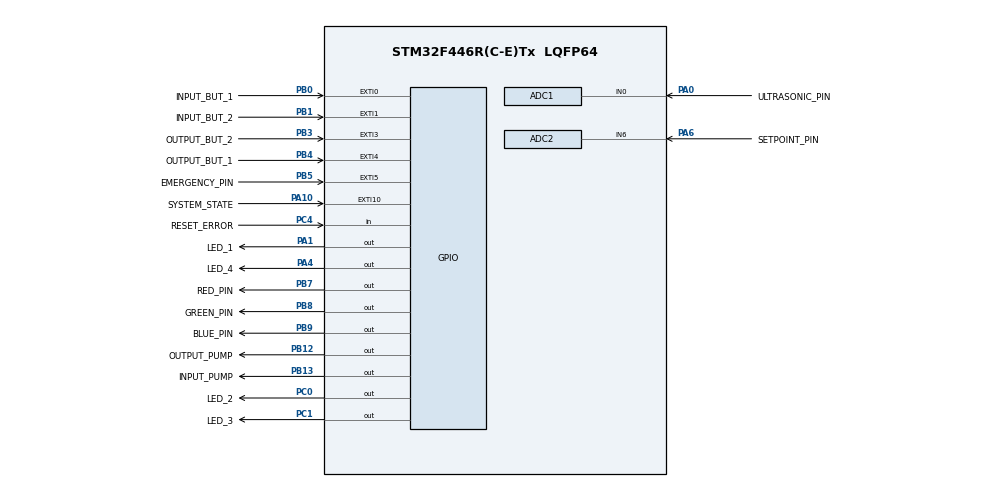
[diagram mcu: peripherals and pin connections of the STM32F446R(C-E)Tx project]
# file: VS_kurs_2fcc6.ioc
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ADC1.Channel-0\#ChannelRegularConversion=ADC_CHANNEL_0
ADC1.NbrOfConversionFlag=1
ADC1.Rank-0\#ChannelRegularConversion=1
ADC1.SamplingTime-0\#ChannelRegularConversion=ADC_SAMPLETIME_3CYCLES
ADC1.master=1
ADC2.Channel-1\#ChannelRegularConversion=ADC_CHANNEL_6
ADC2.NbrOfConversionFlag=1
ADC2.Rank-1\#ChannelRegularConversion=1
ADC2.SamplingTime-1\#ChannelRegularConversion=ADC_SAMPLETIME_3CYCLES
Mcu.Family=STM32F4
Mcu.Name=STM32F446R(C-E)Tx
Mcu.Package=LQFP64
NVIC.ADC_IRQn=true\:0\:0\:false\:false\:true\:true\:true\:true
NVIC.EXTI0_IRQn=true\:0\:0\:false\:false\:true\:true\:true\:true
NVIC.EXTI15_10_IRQn=true\:0\:0\:false\:false\:true\:true\:true\:true
NVIC.EXTI1_IRQn=true\:0\:0\:false\:false\:true\:true\:true\:true
NVIC.EXTI3_IRQn=true\:0\:0\:false\:false\:true\:true\:true\:true
NVIC.EXTI9_5_IRQn=true\:0\:0\:false\:false\:true\:true\:true\:true
NVIC.PriorityGroup=NVIC_PRIORITYGROUP_4
NVIC.TIM1_UP_TIM10_IRQn=true\:0\:0\:false\:false\:true\:true\:true\:true
NVIC.TIM3_IRQn=true\:0\:0\:false\:false\:true\:true\:true\:true
NVIC.TIM4_IRQn=true\:0\:0\:false\:false\:true\:true\:true\:true
PA0-WKUP.GPIO_Label=ULTRASONIC_PIN
PA0-WKUP.Signal=ADCx_IN0
PA1.GPIO_Label=LED_1
PA1.Signal=GPIO_Output
PA10.GPIO_Label=SYSTEM_STATE
PA10.Signal=GPXTI10
PA13.Mode=Serial_Wire
PA13.Signal=SYS_JTMS-SWDIO
PA14.Mode=Serial_Wire
PA14.Signal=SYS_JTCK-SWCLK
PA4.GPIO_Label=LED_4
PA4.Signal=GPIO_Output
PA6.GPIO_Label=SETPOINT_PIN
PA6.Signal=ADCx_IN6
PB0.GPIO_Label=INPUT_BUT_1
PB0.GPIO_PuPd=GPIO_PULLUP
PB0.Signal=GPXTI0
PB1.GPIO_Label=INPUT_BUT_2
PB1.GPIO_PuPd=GPIO_PULLDOWN
PB1.Signal=GPXTI1
PB12.GPIO_Label=OUTPUT_PUMP
PB12.Signal=GPIO_Output
PB13.GPIO_Label=INPUT_PUMP
PB13.Signal=GPIO_Output
PB3.GPIO_Label=OUTPUT_BUT_2
PB3.GPIO_PuPd=GPIO_PULLDOWN
PB3.Signal=GPXTI3
PB4.GPIO_Label=OUTPUT_BUT_1
PB4.Signal=GPXTI4
PB5.GPIO_Label=EMERGENCY_PIN
PB5.GPIO_PuPd=GPIO_PULLDOWN
PB5.Signal=GPXTI5
PB7.GPIO_Label=RED_PIN
PB7.Signal=GPIO_Output
PB8.GPIO_Label=GREEN_PIN
PB8.Signal=GPIO_Output
PB9.GPIO_Label=BLUE_PIN
PB9.Signal=GPIO_Output
PC0.GPIO_Label=LED_2
PC0.Signal=GPIO_Output
PC1.GPIO_Label=LED_3
PC1.Signal=GPIO_Output
PC4.GPIO_Label=RESET_ERROR
PC4.GPIO_PuPd=GPIO_PULLDOWN
PC4.Signal=GPIO_Input
PH0-OSC_IN.Mode=HSE-External-Oscillator
PH0-OSC_IN.Signal=RCC_OSC_IN
PH1-OSC_OUT.Mode=HSE-External-Oscillator
PH1-OSC_OUT.Signal=RCC_OSC_OUT
ProjectManager.HeapSize=0x200
ProjectManager.StackSize=0x400
ProjectManager.TargetToolchain=STM32CubeIDE
RCC.CortexFreq_Value=16000000
RCC.USBFreq_Value=96000000
RCC.VCOOutputFreq_Value=192000000
SH.ADCx_IN0.0=ADC1_IN0,IN0
SH.ADCx_IN6.0=ADC2_IN6,IN6
TIM1.Channel-PWM\ Generation1\ No\ Output=TIM_CHANNEL_1
TIM1.Period=2000-1
TIM1.Prescaler=8000-1
TIM3.Channel-PWM\ Generation1\ No\ Output=TIM_CHANNEL_1
TIM3.Period=2000-1
TIM3.Prescaler=1600-1
TIM4.Channel-PWM\ Generation1\ No\ Output=TIM_CHANNEL_1
TIM4.Period=1000-1
TIM4.Prescaler=16000-1
VP_TIM1_VS_no_output1.Mode=PWM Generation1 No Output
VP_TIM3_VS_no_output1.Mode=PWM Generation1 No Output
VP_TIM4_VS_no_output1.Mode=PWM Generation1 No Output
board=custom

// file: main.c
/* USER CODE BEGIN Header */
/**
 ******************************************************************************
 * @file           : main.c
 * @brief          : Main program body
 ******************************************************************************
 * @attention
 *
 * Copyright (c) 2023 STMicroelectronics.
 * All rights reserved.
 *
 * This software is licensed under terms that can be found in the LICENSE file
 * in the root directory of this software component.
 * If no LICENSE file comes with this software, it is provided AS-IS.
 *
 ******************************************************************************
 */
/* USER CODE END Header */
#include "main.h"

ADC_HandleTypeDef hadc1;
ADC_HandleTypeDef hadc2;

TIM_HandleTypeDef htim1;
TIM_HandleTypeDef htim3;
TIM_HandleTypeDef htim4;

/* USER CODE BEGIN PV */
uint16_t setpoint = 0;
uint16_t ultrasonic_level = 0;

uint16_t system_state = 0;

uint16_t input_pump = 0;
uint16_t output_pump = 0;

uint16_t output_but_1 = 0;
uint16_t output_but_2 = 0;
uint16_t input_but_1 = 1;
uint16_t input_but_2 = 0;

uint16_t led_cascade = 0;

uint16_t rgb_red = 0;
uint16_t rgb_green = 0;
uint16_t rgb_blue = 0;

uint16_t emergency_level = 0;

uint16_t error = 0;

uint16_t current_level = 0;
extern uint16_t ultrasonic_level_reg;
extern uint16_t setpoint_reg;
/* USER CODE END PV */

void SystemClock_Config(void);
static void MX_GPIO_Init(void);
static void MX_ADC1_Init(void);
static void MX_ADC2_Init(void);
static void MX_TIM3_Init(void);
static void MX_TIM4_Init(void);
static void MX_TIM1_Init(void);

/* USER CODE BEGIN 0 */
uint16_t system_first_safety_test()
{
	// Проверка датчиков
	if (emergency_level == 1) { error = 1; return 0; }
	if (ultrasonic_level > 210) { error = 2; return 0; }

	HAL_Delay(3000);

	// Проверка насосов
	// Проверка наполняющего насоса
	current_level = ultrasonic_level_reg;
	HAL_GPIO_WritePin(INPUT_PUMP_GPIO_Port, INPUT_PUMP_Pin, GPIO_PIN_SET);
	input_pump = 1;
	HAL_Delay(5000); // 35000
	for (int16_t i = 0; i < 1000; i++) {i = i + 1;}
	HAL_GPIO_WritePin(INPUT_PUMP_GPIO_Port, INPUT_PUMP_Pin, GPIO_PIN_RESET);
	input_pump = 0;
	if (ultrasonic_level_reg / current_level) { error = 4; return 0; }

	// Проверка сливающего насоса
	current_level = ultrasonic_level_reg;
	HAL_GPIO_WritePin(OUTPUT_PUMP_GPIO_Port, OUTPUT_PUMP_Pin, GPIO_PIN_SET);
	output_pump = 1;
	HAL_Delay(5000); // 35000
	for (int16_t i = 0; i < 1000; i++) {i = i + 1;}
	HAL_GPIO_WritePin(OUTPUT_PUMP_GPIO_Port, OUTPUT_PUMP_Pin, GPIO_PIN_RESET);
	output_pump = 0;
	if (current_level / ultrasonic_level_reg) { error = 5; return 0; }
	return 0;
}
/* USER CODE END 0 */

int main(void)
{

  /* MCU Configuration--------------------------------------------------------*/

  /* Reset of all peripherals, Initializes the Flash interface and the Systick. */
  HAL_Init();

  /* Configure the system clock */
  SystemClock_Config();

  /* Initialize all configured peripherals */
  MX_GPIO_Init();
  MX_ADC1_Init();
  MX_ADC2_Init();
  MX_TIM3_Init();
  MX_TIM4_Init();
  MX_TIM1_Init();
  /* USER CODE BEGIN 2 */

	HAL_TIM_Base_Start_IT(&htim4);
	// тест системы
	system_first_safety_test();
  /* USER CODE END 2 */

  /* Infinite loop */
  /* USER CODE BEGIN WHILE */
	while (1)
	{if (error == 1) { // Критический уровень (крас)
		rgb_red = 1;
		rgb_green = 0;
		rgb_blue = 0;
	}
	if (error == 2) { // неисправность уз. датчика уровня (жёл)
		rgb_red = 1;
		rgb_green = 1;
		rgb_blue = 0;
	}
	if (error == 3) { // неисправность уз. датчика уровня (жёл)
		rgb_red = 1;
		rgb_green = 1;
		rgb_blue = 0;
	}
	if (error == 4) { // неисправность наполняющего насоса или уз датчика уровня (фиол)
		rgb_red = 1;
		rgb_green = 0;
		rgb_blue = 1;
	}
	if (error == 5) { // неисправность сливающего насоса или уз датчика уровня (син)
		rgb_red = 0;
		rgb_green = 0;
		rgb_blue = 1;
	}

	if (error != 0) { // Выключить всё если есть ошибка
		HAL_TIM_Base_Stop_IT(&htim3);

		HAL_GPIO_WritePin(INPUT_PUMP_GPIO_Port, INPUT_PUMP_Pin, RESET);
		input_pump = 0;
		HAL_GPIO_WritePin(OUTPUT_PUMP_GPIO_Port, OUTPUT_PUMP_Pin, RESET);
		output_pump = 0;

		if (HAL_GPIO_ReadPin(RESET_ERROR_GPIO_Port, RESET_ERROR_Pin)){ error = 0; }

	}
	else { // ошибок нет
		ultrasonic_level = 200 - (int32_t)(ultrasonic_level_reg * 200) / 4095;
		if (system_state) { // выбор уставки
			HAL_TIM_Base_Stop_IT(&htim3);
			rgb_red = 1;
			rgb_green = 1;
			rgb_blue = 1;

			if (setpoint >= 198) { led_cascade = 4; }
			else if (setpoint >= 150) { led_cascade = 3; }
			else if (setpoint >= 100) { led_cascade = 2; }
			else if (setpoint >= 50) { led_cascade = 1; }
			else if (setpoint >= 0) { led_cascade = 0; }
			setpoint = (int32_t)(setpoint_reg * 200) / 4095;
		}
		else { // нормальная работа

			rgb_red = 0;
			rgb_green = 1;
			rgb_blue = 0;

			HAL_TIM_Base_Start_IT(&htim3);

			if (ultrasonic_level >= 198) { led_cascade = 4; }
			else if (ultrasonic_level >= 150) { led_cascade = 3; }
			else if (ultrasonic_level >= 100) { led_cascade = 2; }
			else if (ultrasonic_level >= 50) { led_cascade = 1; }
			else if (ultrasonic_level >= 0) { led_cascade = 0; }

		}
	}

	if (led_cascade == 1) {
		HAL_GPIO_WritePin(LED_1_GPIO_Port, LED_1_Pin, SET);
		HAL_GPIO_WritePin(LED_2_GPIO_Port, LED_2_Pin, RESET);
		HAL_GPIO_WritePin(LED_3_GPIO_Port, LED_3_Pin, RESET);
		HAL_GPIO_WritePin(LED_4_GPIO_Port, LED_4_Pin, RESET);
	}
	else if (led_cascade == 2) {
		HAL_GPIO_WritePin(LED_1_GPIO_Port, LED_1_Pin, SET);
		HAL_GPIO_WritePin(LED_2_GPIO_Port, LED_2_Pin, SET);
		HAL_GPIO_WritePin(LED_3_GPIO_Port, LED_3_Pin, RESET);
		HAL_GPIO_WritePin(LED_4_GPIO_Port, LED_4_Pin, RESET);
	}
	else if (led_cascade == 3) {
		HAL_GPIO_WritePin(LED_1_GPIO_Port, LED_1_Pin, SET);
		HAL_GPIO_WritePin(LED_2_GPIO_Port, LED_2_Pin, SET);
		HAL_GPIO_WritePin(LED_3_GPIO_Port, LED_3_Pin, SET);
		HAL_GPIO_WritePin(LED_4_GPIO_Port, LED_4_Pin, RESET);
	}
	else if (led_cascade == 4) {
		HAL_GPIO_WritePin(LED_1_GPIO_Port, LED_1_Pin, SET);
		HAL_GPIO_WritePin(LED_2_GPIO_Port, LED_2_Pin, SET);
		HAL_GPIO_WritePin(LED_3_GPIO_Port, LED_3_Pin, SET);
		HAL_GPIO_WritePin(LED_4_GPIO_Port, LED_4_Pin, SET);

	}
	else if (led_cascade == 0) {
		HAL_GPIO_WritePin(LED_1_GPIO_Port, LED_1_Pin, RESET);
		HAL_GPIO_WritePin(LED_2_GPIO_Port, LED_2_Pin, RESET);
		HAL_GPIO_WritePin(LED_3_GPIO_Port, LED_3_Pin, RESET);
		HAL_GPIO_WritePin(LED_4_GPIO_Port, LED_4_Pin, RESET);

	}

	rgb_red ? HAL_GPIO_WritePin(RED_PIN_GPIO_Port, RED_PIN_Pin, SET) : HAL_GPIO_WritePin(RED_PIN_GPIO_Port, RED_PIN_Pin, RESET);
	rgb_green ? HAL_GPIO_WritePin(GREEN_PIN_GPIO_Port, GREEN_PIN_Pin, SET) : HAL_GPIO_WritePin(GREEN_PIN_GPIO_Port, GREEN_PIN_Pin, RESET);
	rgb_blue ? HAL_GPIO_WritePin(BLUE_PIN_GPIO_Port, BLUE_PIN_Pin, SET) : HAL_GPIO_WritePin(BLUE_PIN_GPIO_Port, BLUE_PIN_Pin, RESET);
    /* USER CODE END WHILE */

	}
}

void SystemClock_Config(void)
{
  RCC_OscInitTypeDef RCC_OscInitStruct = {0};
  RCC_ClkInitTypeDef RCC_ClkInitStruct = {0};

  /** Configure the main internal regulator output voltage
  */
  __HAL_RCC_PWR_CLK_ENABLE();
  __HAL_PWR_VOLTAGESCALING_CONFIG(PWR_REGULATOR_VOLTAGE_SCALE3);

  /** Initializes the RCC Oscillators according to the specified parameters
  * in the RCC_OscInitTypeDef structure.
  */
  RCC_OscInitStruct.OscillatorType = RCC_OSCILLATORTYPE_HSI;
  RCC_OscInitStruct.HSIState = RCC_HSI_ON;
  RCC_OscInitStruct.HSICalibrationValue = RCC_HSICALIBRATION_DEFAULT;
  RCC_OscInitStruct.PLL.PLLState = RCC_PLL_NONE;
  if (HAL_RCC_OscConfig(&RCC_OscInitStruct) != HAL_OK)
  {
    Error_Handler();
  }

  /** Initializes the CPU, AHB and APB buses clocks
  */
  RCC_ClkInitStruct.ClockType = RCC_CLOCKTYPE_HCLK|RCC_CLOCKTYPE_SYSCLK
                              |RCC_CLOCKTYPE_PCLK1|RCC_CLOCKTYPE_PCLK2;
  RCC_ClkInitStruct.SYSCLKSource = RCC_SYSCLKSOURCE_HSI;
  RCC_ClkInitStruct.AHBCLKDivider = RCC_SYSCLK_DIV1;
  RCC_ClkInitStruct.APB1CLKDivider = RCC_HCLK_DIV1;
  RCC_ClkInitStruct.APB2CLKDivider = RCC_HCLK_DIV1;

  if (HAL_RCC_ClockConfig(&RCC_ClkInitStruct, FLASH_LATENCY_0) != HAL_OK)
  {
    Error_Handler();
  }
}

static void MX_ADC1_Init(void)
{

  ADC_ChannelConfTypeDef sConfig = {0};

  /** Configure the global features of the ADC (Clock, Resolution, Data Alignment and number of conversion)
  */
  hadc1.Instance = ADC1;
  hadc1.Init.ClockPrescaler = ADC_CLOCK_SYNC_PCLK_DIV2;
  hadc1.Init.Resolution = ADC_RESOLUTION_12B;
  hadc1.Init.ScanConvMode = DISABLE;
  hadc1.Init.ContinuousConvMode = DISABLE;
  hadc1.Init.DiscontinuousConvMode = DISABLE;
  hadc1.Init.ExternalTrigConvEdge = ADC_EXTERNALTRIGCONVEDGE_NONE;
  hadc1.Init.ExternalTrigConv = ADC_SOFTWARE_START;
  hadc1.Init.DataAlign = ADC_DATAALIGN_RIGHT;
  hadc1.Init.NbrOfConversion = 1;
  hadc1.Init.DMAContinuousRequests = DISABLE;
  hadc1.Init.EOCSelection = ADC_EOC_SINGLE_CONV;
  if (HAL_ADC_Init(&hadc1) != HAL_OK)
  {
    Error_Handler();
  }

  /** Configure for the selected ADC regular channel its corresponding rank in the sequencer and its sample time.
  */
  sConfig.Channel = ADC_CHANNEL_0;
  sConfig.Rank = 1;
  sConfig.SamplingTime = ADC_SAMPLETIME_3CYCLES;
  if (HAL_ADC_ConfigChannel(&hadc1, &sConfig) != HAL_OK)
  {
    Error_Handler();
  }

}

static void MX_ADC2_Init(void)
{

  ADC_ChannelConfTypeDef sConfig = {0};

  /** Configure the global features of the ADC (Clock, Resolution, Data Alignment and number of conversion)
  */
  hadc2.Instance = ADC2;
  hadc2.Init.ClockPrescaler = ADC_CLOCK_SYNC_PCLK_DIV2;
  hadc2.Init.Resolution = ADC_RESOLUTION_12B;
  hadc2.Init.ScanConvMode = DISABLE;
  hadc2.Init.ContinuousConvMode = DISABLE;
  hadc2.Init.DiscontinuousConvMode = DISABLE;
  hadc2.Init.ExternalTrigConvEdge = ADC_EXTERNALTRIGCONVEDGE_NONE;
  hadc2.Init.ExternalTrigConv = ADC_SOFTWARE_START;
  hadc2.Init.DataAlign = ADC_DATAALIGN_RIGHT;
  hadc2.Init.NbrOfConversion = 1;
  hadc2.Init.DMAContinuousRequests = DISABLE;
  hadc2.Init.EOCSelection = ADC_EOC_SINGLE_CONV;
  if (HAL_ADC_Init(&hadc2) != HAL_OK)
  {
    Error_Handler();
  }

  /** Configure for the selected ADC regular channel its corresponding rank in the sequencer and its sample time.
  */
  sConfig.Channel = ADC_CHANNEL_6;
  sConfig.Rank = 1;
  sConfig.SamplingTime = ADC_SAMPLETIME_3CYCLES;
  if (HAL_ADC_ConfigChannel(&hadc2, &sConfig) != HAL_OK)
  {
    Error_Handler();
  }

}

static void MX_TIM1_Init(void)
{

  TIM_MasterConfigTypeDef sMasterConfig = {0};
  TIM_OC_InitTypeDef sConfigOC = {0};
  TIM_BreakDeadTimeConfigTypeDef sBreakDeadTimeConfig = {0};

  htim1.Instance = TIM1;
  htim1.Init.Prescaler = 8000-1;
  htim1.Init.CounterMode = TIM_COUNTERMODE_UP;
  htim1.Init.Period = 2000-1;
  htim1.Init.ClockDivision = TIM_CLOCKDIVISION_DIV1;
  htim1.Init.RepetitionCounter = 0;
  htim1.Init.AutoReloadPreload = TIM_AUTORELOAD_PRELOAD_DISABLE;
  if (HAL_TIM_PWM_Init(&htim1) != HAL_OK)
  {
    Error_Handler();
  }
  sMasterConfig.MasterOutputTrigger = TIM_TRGO_RESET;
  sMasterConfig.MasterSlaveMode = TIM_MASTERSLAVEMODE_DISABLE;
  if (HAL_TIMEx_MasterConfigSynchronization(&htim1, &sMasterConfig) != HAL_OK)
  {
    Error_Handler();
  }
  sConfigOC.OCMode = TIM_OCMODE_PWM1;
  sConfigOC.Pulse = 0;
  sConfigOC.OCPolarity = TIM_OCPOLARITY_HIGH;
  sConfigOC.OCNPolarity = TIM_OCNPOLARITY_HIGH;
  sConfigOC.OCFastMode = TIM_OCFAST_DISABLE;
  sConfigOC.OCIdleState = TIM_OCIDLESTATE_RESET;
  sConfigOC.OCNIdleState = TIM_OCNIDLESTATE_RESET;
  if (HAL_TIM_PWM_ConfigChannel(&htim1, &sConfigOC, TIM_CHANNEL_1) != HAL_OK)
  {
    Error_Handler();
  }
  sBreakDeadTimeConfig.OffStateRunMode = TIM_OSSR_DISABLE;
  sBreakDeadTimeConfig.OffStateIDLEMode = TIM_OSSI_DISABLE;
  sBreakDeadTimeConfig.LockLevel = TIM_LOCKLEVEL_OFF;
  sBreakDeadTimeConfig.DeadTime = 0;
  sBreakDeadTimeConfig.BreakState = TIM_BREAK_DISABLE;
  sBreakDeadTimeConfig.BreakPolarity = TIM_BREAKPOLARITY_HIGH;
  sBreakDeadTimeConfig.AutomaticOutput = TIM_AUTOMATICOUTPUT_DISABLE;
  if (HAL_TIMEx_ConfigBreakDeadTime(&htim1, &sBreakDeadTimeConfig) != HAL_OK)
  {
    Error_Handler();
  }

}

static void MX_TIM3_Init(void)
{

  TIM_MasterConfigTypeDef sMasterConfig = {0};
  TIM_OC_InitTypeDef sConfigOC = {0};

  htim3.Instance = TIM3;
  htim3.Init.Prescaler = 1600-1;
  htim3.Init.CounterMode = TIM_COUNTERMODE_UP;
  htim3.Init.Period = 2000-1;
  htim3.Init.ClockDivision = TIM_CLOCKDIVISION_DIV1;
  htim3.Init.AutoReloadPreload = TIM_AUTORELOAD_PRELOAD_DISABLE;
  if (HAL_TIM_PWM_Init(&htim3) != HAL_OK)
  {
    Error_Handler();
  }
  sMasterConfig.MasterOutputTrigger = TIM_TRGO_RESET;
  sMasterConfig.MasterSlaveMode = TIM_MASTERSLAVEMODE_DISABLE;
  if (HAL_TIMEx_MasterConfigSynchronization(&htim3, &sMasterConfig) != HAL_OK)
  {
    Error_Handler();
  }
  sConfigOC.OCMode = TIM_OCMODE_PWM1;
  sConfigOC.Pulse = 0;
  sConfigOC.OCPolarity = TIM_OCPOLARITY_HIGH;
  sConfigOC.OCFastMode = TIM_OCFAST_DISABLE;
  if (HAL_TIM_PWM_ConfigChannel(&htim3, &sConfigOC, TIM_CHANNEL_1) != HAL_OK)
  {
    Error_Handler();
  }

}

static void MX_TIM4_Init(void)
{

  TIM_MasterConfigTypeDef sMasterConfig = {0};
  TIM_OC_InitTypeDef sConfigOC = {0};

  htim4.Instance = TIM4;
  htim4.Init.Prescaler = 16000-1;
  htim4.Init.CounterMode = TIM_COUNTERMODE_UP;
  htim4.Init.Period = 1000-1;
  htim4.Init.ClockDivision = TIM_CLOCKDIVISION_DIV1;
  htim4.Init.AutoReloadPreload = TIM_AUTORELOAD_PRELOAD_DISABLE;
  if (HAL_TIM_PWM_Init(&htim4) != HAL_OK)
  {
    Error_Handler();
  }
  sMasterConfig.MasterOutputTrigger = TIM_TRGO_RESET;
  sMasterConfig.MasterSlaveMode = TIM_MASTERSLAVEMODE_DISABLE;
  if (HAL_TIMEx_MasterConfigSynchronization(&htim4, &sMasterConfig) != HAL_OK)
  {
    Error_Handler();
  }
  sConfigOC.OCMode = TIM_OCMODE_PWM1;
  sConfigOC.Pulse = 0;
  sConfigOC.OCPolarity = TIM_OCPOLARITY_HIGH;
  sConfigOC.OCFastMode = TIM_OCFAST_DISABLE;
  if (HAL_TIM_PWM_ConfigChannel(&htim4, &sConfigOC, TIM_CHANNEL_1) != HAL_OK)
  {
    Error_Handler();
  }

}

static void MX_GPIO_Init(void)
{
  GPIO_InitTypeDef GPIO_InitStruct = {0};

  /* GPIO Ports Clock Enable */
  __HAL_RCC_GPIOH_CLK_ENABLE();
  __HAL_RCC_GPIOC_CLK_ENABLE();
  __HAL_RCC_GPIOA_CLK_ENABLE();
  __HAL_RCC_GPIOB_CLK_ENABLE();

  /*Configure GPIO pin Output Level */
  HAL_GPIO_WritePin(GPIOC, LED_2_Pin|LED_3_Pin, GPIO_PIN_RESET);

  /*Configure GPIO pin Output Level */
  HAL_GPIO_WritePin(GPIOA, LED_1_Pin|LED_4_Pin, GPIO_PIN_RESET);

  /*Configure GPIO pin Output Level */
  HAL_GPIO_WritePin(GPIOB, OUTPUT_PUMP_Pin|INPUT_PUMP_Pin|RED_PIN_Pin|GREEN_PIN_Pin
                          |BLUE_PIN_Pin, GPIO_PIN_RESET);

  /*Configure GPIO pins : LED_2_Pin LED_3_Pin */
  GPIO_InitStruct.Pin = LED_2_Pin|LED_3_Pin;
  GPIO_InitStruct.Mode = GPIO_MODE_OUTPUT_PP;
  GPIO_InitStruct.Pull = GPIO_NOPULL;
  GPIO_InitStruct.Speed = GPIO_SPEED_FREQ_LOW;
  HAL_GPIO_Init(GPIOC, &GPIO_InitStruct);

  /*Configure GPIO pins : LED_1_Pin LED_4_Pin */
  GPIO_InitStruct.Pin = LED_1_Pin|LED_4_Pin;
  GPIO_InitStruct.Mode = GPIO_MODE_OUTPUT_PP;
  GPIO_InitStruct.Pull = GPIO_NOPULL;
  GPIO_InitStruct.Speed = GPIO_SPEED_FREQ_LOW;
  HAL_GPIO_Init(GPIOA, &GPIO_InitStruct);

  /*Configure GPIO pin : RESET_ERROR_Pin */
  GPIO_InitStruct.Pin = RESET_ERROR_Pin;
  GPIO_InitStruct.Mode = GPIO_MODE_INPUT;
  GPIO_InitStruct.Pull = GPIO_PULLDOWN;
  HAL_GPIO_Init(RESET_ERROR_GPIO_Port, &GPIO_InitStruct);

  /*Configure GPIO pin : INPUT_BUT_1_Pin */
  GPIO_InitStruct.Pin = INPUT_BUT_1_Pin;
  GPIO_InitStruct.Mode = GPIO_MODE_IT_RISING;
  GPIO_InitStruct.Pull = GPIO_PULLUP;
  HAL_GPIO_Init(INPUT_BUT_1_GPIO_Port, &GPIO_InitStruct);

  /*Configure GPIO pins : INPUT_BUT_2_Pin OUTPUT_BUT_2_Pin EMERGENCY_PIN_Pin */
  GPIO_InitStruct.Pin = INPUT_BUT_2_Pin|OUTPUT_BUT_2_Pin|EMERGENCY_PIN_Pin;
  GPIO_InitStruct.Mode = GPIO_MODE_IT_RISING;
  GPIO_InitStruct.Pull = GPIO_PULLDOWN;
  HAL_GPIO_Init(GPIOB, &GPIO_InitStruct);

  /*Configure GPIO pins : OUTPUT_PUMP_Pin INPUT_PUMP_Pin RED_PIN_Pin GREEN_PIN_Pin
                           BLUE_PIN_Pin */
  GPIO_InitStruct.Pin = OUTPUT_PUMP_Pin|INPUT_PUMP_Pin|RED_PIN_Pin|GREEN_PIN_Pin
                          |BLUE_PIN_Pin;
  GPIO_InitStruct.Mode = GPIO_MODE_OUTPUT_PP;
  GPIO_InitStruct.Pull = GPIO_NOPULL;
  GPIO_InitStruct.Speed = GPIO_SPEED_FREQ_LOW;
  HAL_GPIO_Init(GPIOB, &GPIO_InitStruct);

  /*Configure GPIO pin : SYSTEM_STATE_Pin */
  GPIO_InitStruct.Pin = SYSTEM_STATE_Pin;
  GPIO_InitStruct.Mode = GPIO_MODE_IT_RISING;
  GPIO_InitStruct.Pull = GPIO_NOPULL;
  HAL_GPIO_Init(SYSTEM_STATE_GPIO_Port, &GPIO_InitStruct);

  /*Configure GPIO pin : OUTPUT_BUT_1_Pin */
  GPIO_InitStruct.Pin = OUTPUT_BUT_1_Pin;
  GPIO_InitStruct.Mode = GPIO_MODE_IT_RISING;
  GPIO_InitStruct.Pull = GPIO_NOPULL;
  HAL_GPIO_Init(OUTPUT_BUT_1_GPIO_Port, &GPIO_InitStruct);

  /* EXTI interrupt init*/
  HAL_NVIC_SetPriority(EXTI0_IRQn, 0, 0);
  HAL_NVIC_EnableIRQ(EXTI0_IRQn);

  HAL_NVIC_SetPriority(EXTI1_IRQn, 0, 0);
  HAL_NVIC_EnableIRQ(EXTI1_IRQn);

  HAL_NVIC_SetPriority(EXTI3_IRQn, 0, 0);
  HAL_NVIC_EnableIRQ(EXTI3_IRQn);

  HAL_NVIC_SetPriority(EXTI9_5_IRQn, 0, 0);
  HAL_NVIC_EnableIRQ(EXTI9_5_IRQn);

  HAL_NVIC_SetPriority(EXTI15_10_IRQn, 0, 0);
  HAL_NVIC_EnableIRQ(EXTI15_10_IRQn);

}

void Error_Handler(void)
{
	__disable_irq();
	while (1)
	{
	}
}
